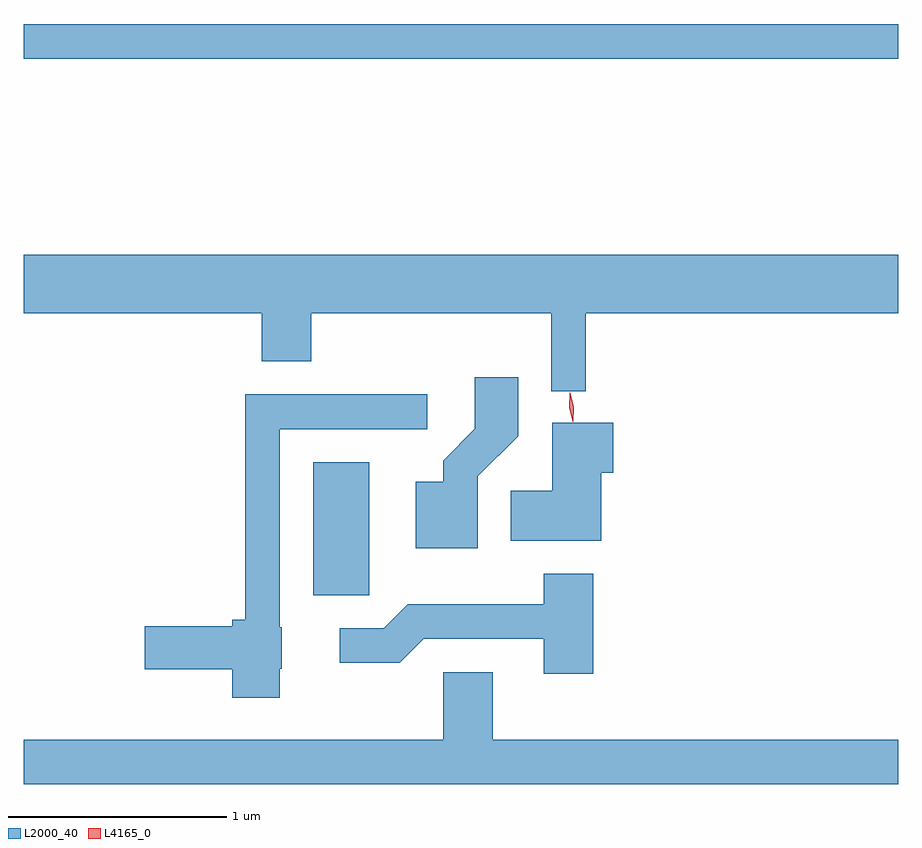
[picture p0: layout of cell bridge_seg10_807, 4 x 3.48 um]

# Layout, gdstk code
import gdstk
lib = gdstk.Library(unit=1e-6, precision=1e-09)
def R(c, l, rs):  # rectangles x0, y0, x1, y1
    for r in rs: c.add(gdstk.rectangle(r[:2], r[2:], *l))
def P(c, l, *ps):  # polygons
    for p in ps: c.add(gdstk.Polygon(p, *l))
L2000_40 = (2000, 40)
L4165_0 = (4165, 0)

bridge_seg10_807 = lib.new_cell('bridge_seg10_807')
R(bridge_seg10_807, L2000_40, [(350.716,2097.086,350.974,2097.694), (349.393,2099.541,353.393,2099.699)])
P(bridge_seg10_807, L2000_40, [(351.964,2098.376),(353.393,2098.376),(353.393,2098.644),(349.393,2098.644),(349.393,2098.376),(350.481,2098.376),(350.481,2098.156),(350.709,2098.156),(350.709,2098.376),(351.806,2098.376),(351.806,2098.018),(351.964,2098.018)],
  [(351.469,2097.629),(351.654,2097.814),(351.654,2098.084),(351.456,2098.084),(351.456,2097.847),(351.311,2097.702),(351.311,2097.604),(351.186,2097.604),(351.186,2097.301),(351.469,2097.301)],
  [(350.564,2096.75),(350.574,2096.75),(350.574,2096.94),(350.564,2096.94),(350.564,2097.846),(351.238,2097.846),(351.238,2098.004),(350.406,2098.004),(350.406,2096.974),(350.346,2096.974),(350.346,2096.944),(349.946,2096.944),(349.946,2096.746),(350.346,2096.746),(350.346,2096.616),(350.564,2096.616)],
  [(352.034,2097.646),(352.089,2097.646),(352.089,2097.874),(351.811,2097.874),(351.811,2097.564),(351.621,2097.564),(351.621,2097.336),(352.034,2097.336)],
  [(351.999,2097.184),(351.771,2097.184),(351.771,2097.044),(351.149,2097.044),(351.039,2096.934),(350.838,2096.934),(350.838,2096.776),(351.112,2096.776),(351.222,2096.886),(351.771,2096.886),(351.771,2096.726),(351.999,2096.726)],
  [(353.393,2096.424),(351.539,2096.424),(351.539,2096.734),(351.311,2096.734),(351.311,2096.424),(349.393,2096.424),(349.393,2096.222),(353.393,2096.222)])
P(bridge_seg10_807, L4165_0, [(351.905,2097.879),(351.904,2097.88),(351.888,2097.944),(351.891,2098.011),(351.892,2098.012),(351.892,2098.011),(351.908,2097.946),(351.906,2097.88)])

lib.write_gds('bridge_seg10_807.gds')
